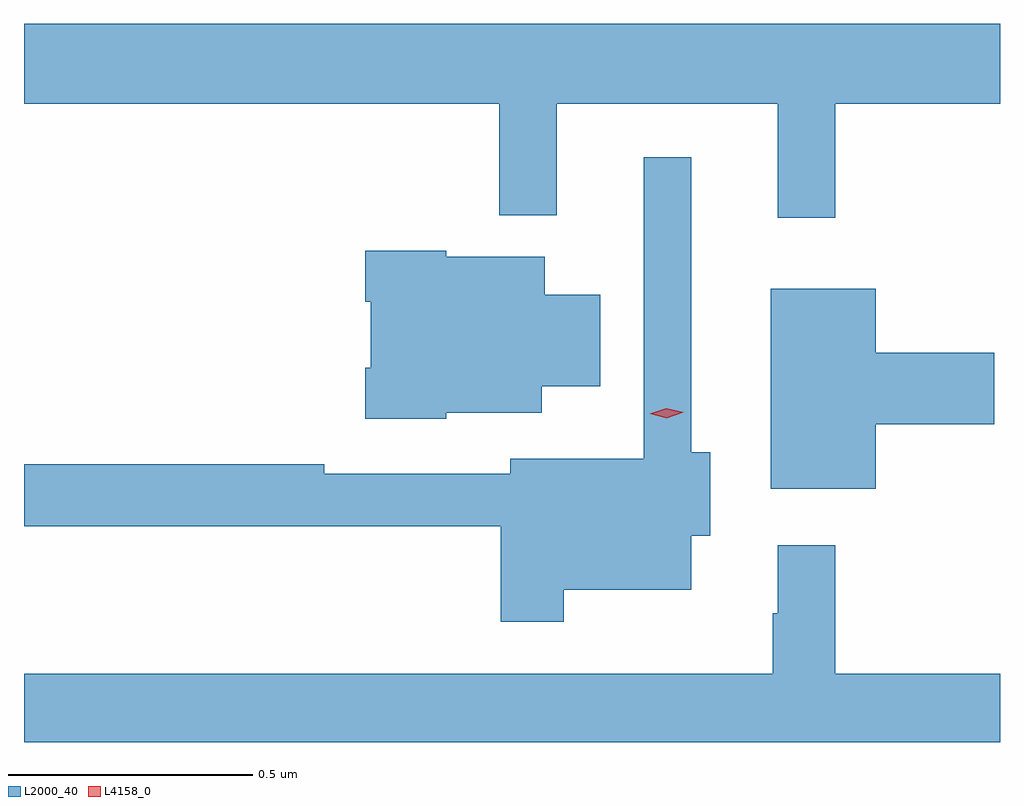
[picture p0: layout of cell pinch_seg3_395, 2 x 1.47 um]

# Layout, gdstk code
import gdstk
lib = gdstk.Library(unit=1e-6, precision=1e-09)
def P(c, l, *ps):  # polygons
    for p in ps: c.add(gdstk.Polygon(p, *l))
L2000_40 = (2000, 40)
L4158_0 = (4158, 0)

pinch_seg3_395 = lib.new_cell('pinch_seg3_395')
P(pinch_seg3_395, L2000_40, [(927.755,691.592),(928.093,691.592),(928.093,691.756),(926.093,691.756),(926.093,691.592),(927.067,691.592),(927.067,691.364),(927.185,691.364),(927.185,691.592),(927.638,691.592),(927.638,691.359),(927.755,691.359)],
  [(927.199,690.596),(927.46,690.596),(927.46,690.707),(927.499,690.707),(927.499,690.878),(927.46,690.878),(927.46,691.483),(927.363,691.483),(927.363,690.865),(927.089,690.865),(927.089,690.834),(926.708,690.834),(926.708,690.854),(926.093,690.854),(926.093,690.726),(927.07,690.726),(927.07,690.531),(927.199,690.531)],
  [(926.958,690.959),(927.154,690.959),(927.154,691.013),(927.274,691.013),(927.274,691.201),(927.16,691.201),(927.16,691.279),(926.958,691.279),(926.958,691.291),(926.792,691.291),(926.792,691.187),(926.804,691.187),(926.804,691.051),(926.792,691.051),(926.792,690.947),(926.958,690.947)],
  [(927.838,690.935),(928.081,690.935),(928.081,691.082),(927.838,691.082),(927.838,691.213),(927.623,691.213),(927.623,690.803),(927.838,690.803)],
  [(928.093,690.424),(927.755,690.424),(927.755,690.688),(927.638,690.688),(927.638,690.548),(927.627,690.548),(927.627,690.424),(926.093,690.424),(926.093,690.284),(928.093,690.284)])
P(pinch_seg3_395, L4158_0, [(927.41,690.948),(927.375,690.957),(927.374,690.957),(927.375,690.957),(927.409,690.968),(927.445,690.96),(927.445,690.96),(927.445,690.96)])

lib.write_gds('pinch_seg3_395.gds')
